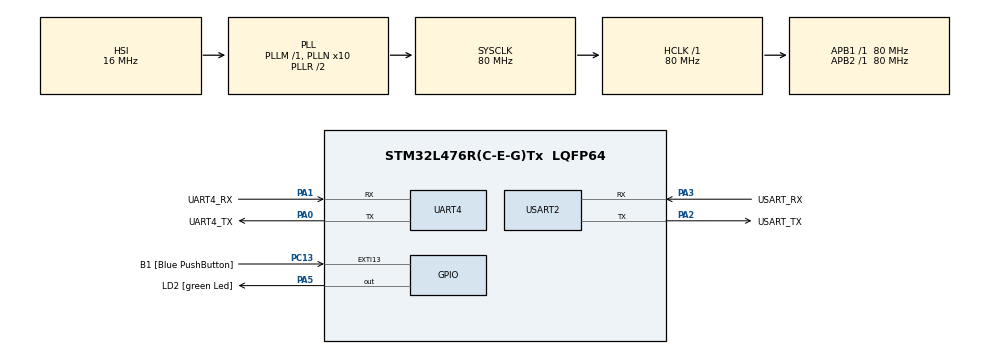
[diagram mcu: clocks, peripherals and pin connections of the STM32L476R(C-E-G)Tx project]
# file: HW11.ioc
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Mcu.Family=STM32L4
Mcu.Name=STM32L476R(C-E-G)Tx
Mcu.Package=LQFP64
NVIC.PriorityGroup=NVIC_PRIORITYGROUP_4
PA13\ (JTMS-SWDIO).GPIO_Label=TMS
PA13\ (JTMS-SWDIO).Mode=Serial_Wire
PA13\ (JTMS-SWDIO).Signal=SYS_JTMS-SWDIO
PA14\ (JTCK-SWCLK).GPIO_Label=TCK
PA14\ (JTCK-SWCLK).Mode=Serial_Wire
PA14\ (JTCK-SWCLK).Signal=SYS_JTCK-SWCLK
PA0.GPIO_Label=UART4_TX
PA0.GPIO_Mode=GPIO_MODE_AF_PP
PA0.GPIO_PuPd=GPIO_NOPULL
PA0.GPIO_Speed=GPIO_SPEED_FREQ_VERY_HIGH
PA0.Mode=Asynchronous
PA0.Signal=UART4_TX
PA1.GPIO_Label=UART4_RX
PA1.GPIO_Mode=GPIO_MODE_AF_PP
PA1.GPIO_PuPd=GPIO_NOPULL
PA1.GPIO_Speed=GPIO_SPEED_FREQ_VERY_HIGH
PA1.Mode=Asynchronous
PA1.Signal=UART4_RX
PA2.GPIO_Label=USART_TX
PA2.GPIO_Mode=GPIO_MODE_AF_PP
PA2.GPIO_PuPd=GPIO_NOPULL
PA2.GPIO_Speed=GPIO_SPEED_FREQ_VERY_HIGH
PA2.Mode=Asynchronous
PA2.Signal=USART2_TX
PA3.GPIO_Label=USART_RX
PA3.GPIO_Mode=GPIO_MODE_AF_PP
PA3.GPIO_PuPd=GPIO_NOPULL
PA3.GPIO_Speed=GPIO_SPEED_FREQ_VERY_HIGH
PA3.Mode=Asynchronous
PA3.Signal=USART2_RX
PA5.GPIO_Label=LD2 [green Led]
PA5.GPIO_ModeDefaultOutputPP=GPIO_MODE_OUTPUT_PP
PA5.GPIO_PuPd=GPIO_NOPULL
PA5.GPIO_Speed=GPIO_SPEED_FREQ_LOW
PA5.Signal=GPIO_Output
PB3\ (JTDO-TRACESWO).GPIO_Label=SWO
PB3\ (JTDO-TRACESWO).Signal=SYS_JTDO-SWO
PC13.GPIO_Label=B1 [Blue PushButton]
PC13.GPIO_ModeDefaultEXTI=GPIO_MODE_IT_FALLING
PC13.GPIO_PuPd=GPIO_NOPULL
PC13.Signal=GPXTI13
PC14-OSC32_IN\ (PC14).Mode=LSE-External-Oscillator
PC14-OSC32_IN\ (PC14).Signal=RCC_OSC32_IN
PC15-OSC32_OUT\ (PC15).Mode=LSE-External-Oscillator
PC15-OSC32_OUT\ (PC15).Signal=RCC_OSC32_OUT
PH0-OSC_IN\ (PH0).Signal=RCC_OSC_IN
PH1-OSC_OUT\ (PH1).Signal=RCC_OSC_OUT
ProjectManager.HeapSize=0x200
ProjectManager.StackSize=0x400
ProjectManager.TargetToolchain=CMake
RCC.ADCFreq_Value=64000000
RCC.AHBFreq_Value=80000000
RCC.APB1Freq_Value=80000000
RCC.APB1TimFreq_Value=80000000
RCC.APB2Freq_Value=80000000
RCC.APB2TimFreq_Value=80000000
RCC.CortexFreq_Value=80000000
RCC.HCLKFreq_Value=80000000
RCC.HSE_VALUE=8000000
RCC.HSI_VALUE=16000000
RCC.MSI_VALUE=4000000
RCC.PLLN=10
RCC.PLLSourceVirtual=RCC_PLLSOURCE_HSI
RCC.PREFETCH_ENABLE=1
RCC.SYSCLKFreq_VALUE=80000000
RCC.SYSCLKSource=RCC_SYSCLKSOURCE_PLLCLK
RCC.USBFreq_Value=64000000
RCC.VCOOutputFreq_Value=160000000
UART4.VirtualMode-Asynchronous=VM_ASYNC
USART2.VirtualMode-Asynchronous=VM_ASYNC
board=NUCLEO-L476RG

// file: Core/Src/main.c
/* USER CODE BEGIN Header */
/**
  ******************************************************************************
  * @file           : main.c
  * @brief          : Main program body
  ******************************************************************************
  * @attention
  *
  * Copyright (c) 2026 STMicroelectronics.
  * All rights reserved.
  *
  * This software is licensed under terms that can be found in the LICENSE file
  * in the root directory of this software component.
  * If no LICENSE file comes with this software, it is provided AS-IS.
  *
  ******************************************************************************
  */
/* USER CODE END Header */
#include "main.h"

/* USER CODE BEGIN Includes */
#include <stdio.h>
#include <string.h>

/* USER CODE END Includes */

UART_HandleTypeDef huart4;

UART_HandleTypeDef huart2;

void SystemClock_Config(void);
static void MX_GPIO_Init(void);
static void MX_UART4_Init(void);
static void MX_USART2_UART_Init(void);

/* USER CODE BEGIN 0 */
int __io_putchar(int ch)
{
  HAL_UART_Transmit(&huart2, (uint8_t *)&ch, 1, HAL_MAX_DELAY);
  return ch;
}

static void UART_BridgeByte(UART_HandleTypeDef *source, UART_HandleTypeDef *destination, uint8_t echo_to_source)
{
  uint8_t byte;

  if (HAL_UART_Receive(source, &byte, 1, 1) == HAL_OK)
  {
    HAL_UART_Transmit(destination, &byte, 1, HAL_MAX_DELAY);
    if (echo_to_source)
    {
      HAL_UART_Transmit(source, &byte, 1, HAL_MAX_DELAY);
    }
  }
}

/* USER CODE END 0 */

int main(void)
{

  /* MCU Configuration--------------------------------------------------------*/

  /* Reset of all peripherals, Initializes the Flash interface and the Systick. */
  HAL_Init();

  /* Configure the system clock */
  SystemClock_Config();

  /* Initialize all configured peripherals */
  MX_GPIO_Init();
  MX_UART4_Init();
  MX_USART2_UART_Init();
  /* USER CODE BEGIN 2 */
  const char ready_message[] = "STM32 UART bridge ready\r\n";
  const char uart_test_message[] = "STM32 TX path test\r\n";
  HAL_UART_Transmit(&huart2, (uint8_t *)ready_message, (uint16_t)strlen(ready_message), HAL_MAX_DELAY);
  HAL_UART_Transmit(&huart4, (uint8_t *)uart_test_message, (uint16_t)strlen(uart_test_message), HAL_MAX_DELAY);

  /* USER CODE END 2 */

  /* Infinite loop */
  while (1)
  {

    /* USER CODE BEGIN 3 */
    UART_BridgeByte(&huart2, &huart4, 1);
    UART_BridgeByte(&huart4, &huart2, 0);
  }
  /* USER CODE END 3 */
}

void SystemClock_Config(void)
{
  RCC_OscInitTypeDef RCC_OscInitStruct = {0};
  RCC_ClkInitTypeDef RCC_ClkInitStruct = {0};

  /** Configure the main internal regulator output voltage
  */
  if (HAL_PWREx_ControlVoltageScaling(PWR_REGULATOR_VOLTAGE_SCALE1) != HAL_OK)
  {
    Error_Handler();
  }

  /** Initializes the RCC Oscillators according to the specified parameters
  * in the RCC_OscInitTypeDef structure.
  */
  RCC_OscInitStruct.OscillatorType = RCC_OSCILLATORTYPE_HSI;
  RCC_OscInitStruct.HSIState = RCC_HSI_ON;
  RCC_OscInitStruct.HSICalibrationValue = RCC_HSICALIBRATION_DEFAULT;
  RCC_OscInitStruct.PLL.PLLState = RCC_PLL_ON;
  RCC_OscInitStruct.PLL.PLLSource = RCC_PLLSOURCE_HSI;
  RCC_OscInitStruct.PLL.PLLM = 1;
  RCC_OscInitStruct.PLL.PLLN = 10;
  RCC_OscInitStruct.PLL.PLLP = RCC_PLLP_DIV7;
  RCC_OscInitStruct.PLL.PLLQ = RCC_PLLQ_DIV2;
  RCC_OscInitStruct.PLL.PLLR = RCC_PLLR_DIV2;
  if (HAL_RCC_OscConfig(&RCC_OscInitStruct) != HAL_OK)
  {
    Error_Handler();
  }

  /** Initializes the CPU, AHB and APB buses clocks
  */
  RCC_ClkInitStruct.ClockType = RCC_CLOCKTYPE_HCLK|RCC_CLOCKTYPE_SYSCLK
                              |RCC_CLOCKTYPE_PCLK1|RCC_CLOCKTYPE_PCLK2;
  RCC_ClkInitStruct.SYSCLKSource = RCC_SYSCLKSOURCE_PLLCLK;
  RCC_ClkInitStruct.AHBCLKDivider = RCC_SYSCLK_DIV1;
  RCC_ClkInitStruct.APB1CLKDivider = RCC_HCLK_DIV1;
  RCC_ClkInitStruct.APB2CLKDivider = RCC_HCLK_DIV1;

  if (HAL_RCC_ClockConfig(&RCC_ClkInitStruct, FLASH_LATENCY_4) != HAL_OK)
  {
    Error_Handler();
  }
}

static void MX_UART4_Init(void)
{

  huart4.Instance = UART4;
  huart4.Init.BaudRate = 115200;
  huart4.Init.WordLength = UART_WORDLENGTH_8B;
  huart4.Init.StopBits = UART_STOPBITS_1;
  huart4.Init.Parity = UART_PARITY_NONE;
  huart4.Init.Mode = UART_MODE_TX_RX;
  huart4.Init.HwFlowCtl = UART_HWCONTROL_NONE;
  huart4.Init.OverSampling = UART_OVERSAMPLING_16;
  huart4.Init.OneBitSampling = UART_ONE_BIT_SAMPLE_DISABLE;
  huart4.AdvancedInit.AdvFeatureInit = UART_ADVFEATURE_NO_INIT;
  if (HAL_UART_Init(&huart4) != HAL_OK)
  {
    Error_Handler();
  }

}

static void MX_USART2_UART_Init(void)
{

  huart2.Instance = USART2;
  huart2.Init.BaudRate = 115200;
  huart2.Init.WordLength = UART_WORDLENGTH_8B;
  huart2.Init.StopBits = UART_STOPBITS_1;
  huart2.Init.Parity = UART_PARITY_NONE;
  huart2.Init.Mode = UART_MODE_TX_RX;
  huart2.Init.HwFlowCtl = UART_HWCONTROL_NONE;
  huart2.Init.OverSampling = UART_OVERSAMPLING_16;
  huart2.Init.OneBitSampling = UART_ONE_BIT_SAMPLE_DISABLE;
  huart2.AdvancedInit.AdvFeatureInit = UART_ADVFEATURE_NO_INIT;
  if (HAL_UART_Init(&huart2) != HAL_OK)
  {
    Error_Handler();
  }

}

static void MX_GPIO_Init(void)
{
  GPIO_InitTypeDef GPIO_InitStruct = {0};

  /* GPIO Ports Clock Enable */
  __HAL_RCC_GPIOC_CLK_ENABLE();
  __HAL_RCC_GPIOH_CLK_ENABLE();
  __HAL_RCC_GPIOA_CLK_ENABLE();
  __HAL_RCC_GPIOB_CLK_ENABLE();

  /*Configure GPIO pin Output Level */
  HAL_GPIO_WritePin(LD2_GPIO_Port, LD2_Pin, GPIO_PIN_RESET);

  /*Configure GPIO pin : B1_Pin */
  GPIO_InitStruct.Pin = B1_Pin;
  GPIO_InitStruct.Mode = GPIO_MODE_IT_FALLING;
  GPIO_InitStruct.Pull = GPIO_NOPULL;
  HAL_GPIO_Init(B1_GPIO_Port, &GPIO_InitStruct);

  /*Configure GPIO pin : LD2_Pin */
  GPIO_InitStruct.Pin = LD2_Pin;
  GPIO_InitStruct.Mode = GPIO_MODE_OUTPUT_PP;
  GPIO_InitStruct.Pull = GPIO_NOPULL;
  GPIO_InitStruct.Speed = GPIO_SPEED_FREQ_LOW;
  HAL_GPIO_Init(LD2_GPIO_Port, &GPIO_InitStruct);

}

void Error_Handler(void)
{
  __disable_irq();
  while (1)
  {
  }
}
